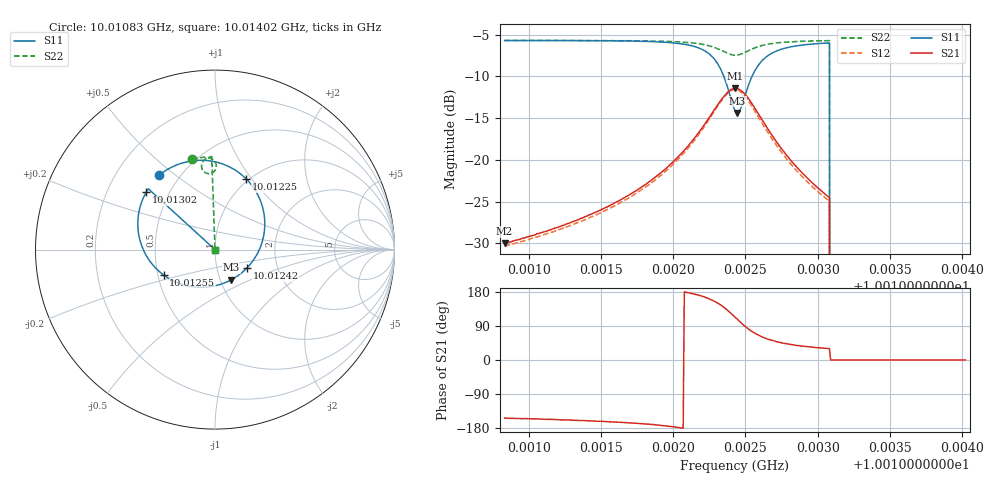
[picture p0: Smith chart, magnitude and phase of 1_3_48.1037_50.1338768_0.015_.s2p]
#  HZ  S  RI  R  50.00
! Rohde & Schwarz Vector Network Analyzer
! Rohde-Schwarz,ZNB20-2Port,1311601062101988,3.16
! Created: UTC 12/23/2023, 3:34:39 AM
! freq[Hz]  re:S11  im:S11  re:S21  im:S21  re:S12  im:S12  re:S22  im:S22
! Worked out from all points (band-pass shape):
!   401 points, 10.01083 GHz to 10.01402 GHz, reference 50 ohm
!   highest |S21| = -11.43 dB at 10.01243 GHz (marker M1); lowest = -30.0 dB at 10.01083 GHz (marker M2)
!   |S21| within 3 dB of the highest: 10.01227 GHz to 10.01259 GHz (319.5 kHz wide, 0.00319 % of centre)
!   lowest |S11| = -14.4 dB at 10.01244 GHz (marker M3), VSWR 1.47, Z = 56.5 - j19.7 ohm
!   |S11| at or under -10 dB: 10.01235 GHz to 10.01255 GHz (194.6 kHz wide, 0.00194 % of centre); 10.01308 GHz to end of sweep
!   |S22| runs from - to -5.7 dB; largest |S21 - S12| = 0.012
!   S11 on the Smith chart (normalised r, x): 10.01083 GHz: 0.39, +0.44; 10.01225 GHz: 0.98, +0.94; 10.01242 GHz: 1.39, -0.30; 10.01255 GHz: 0.54, -0.17; 10.01302 GHz: 0.37, +0.32; 10.01402 GHz: 1.00, +0.00
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1.0010832e10  -0.3102 0.4165  -0.0283 -0.0141  -0.0264 -0.015  -0.128 0.504
1.0011367e10  -0.2515 0.4541  -0.042 -0.0153  -0.0395 -0.017  -0.0903 0.5117
1.0011901e10  -0.1228 0.495  -0.0811 -0.0113  -0.0775 -0.0156  -0.0435 0.5132
1.0012124e10  0.0214 0.4837  -0.1273 0.00935  -0.1238 0.00156  -0.0153 0.5034
1.0012252e10  0.175 0.3927  -0.1708 0.0593  -0.1705 0.0487  0.00368 0.4822
1.0012308e10  0.2486 0.2836  -0.1855 0.1059  -0.1873 0.096  0.00736 0.4639
1.0012356e10  0.2774 0.1311  -0.179 0.165  -0.1841 0.1544  0.00202 0.4439
1.0012388e10  0.2523 0.012  -0.1568 0.2062  -0.1628 0.1974  -0.00843 0.4317
1.0012419e10  0.1774 -0.1032  -0.1179 0.24  -0.1238 0.2326  -0.0249 0.4239
1.0012427e10  0.1504 -0.1283  -0.1058 0.2465  -0.1115 0.2393  -0.0297 0.4233
1.0012443e10  0.0918 -0.1679  -0.0803 0.2551  -0.0851 0.2484  -0.0388 0.4234
1.0012491e10  -0.1049 -0.2092  -0.0028 0.2508  -0.00892 0.2437  -0.0624 0.4348
1.0012547e10  -0.286 -0.1417  0.0563 0.2084  0.0505 0.2015  -0.0742 0.457
1.0012603e10  -0.3812 -0.0362  0.0821 0.1608  0.0742 0.1559  -0.0737 0.4764
1.0012675e10  -0.4246 0.0814  0.087 0.1147  0.0797 0.1117  -0.0656 0.493
1.0012802e10  -0.4232 0.2135  0.0762 0.0681  0.0698 0.0672  -0.0486 0.508
1.0012962e10  -0.3937 0.3001  0.0604 0.0405  0.0557 0.0412  -0.0303 0.5158
1.0013018e10  -0.3831 0.32  0.0561 0.0348  0.0518 0.0354  -0.0247 0.5174
1.0013066e10  -0.3744 0.3344  0.0524 0.0309  0.0484 0.0316  -0.0199 0.5183
1.0013106e10  0 0  0 0  0 0  0 0
1.0013496e10  0 0  0 0  0 0  0 0
1.0014023e10  0 0  0 0  0 0  0 0
